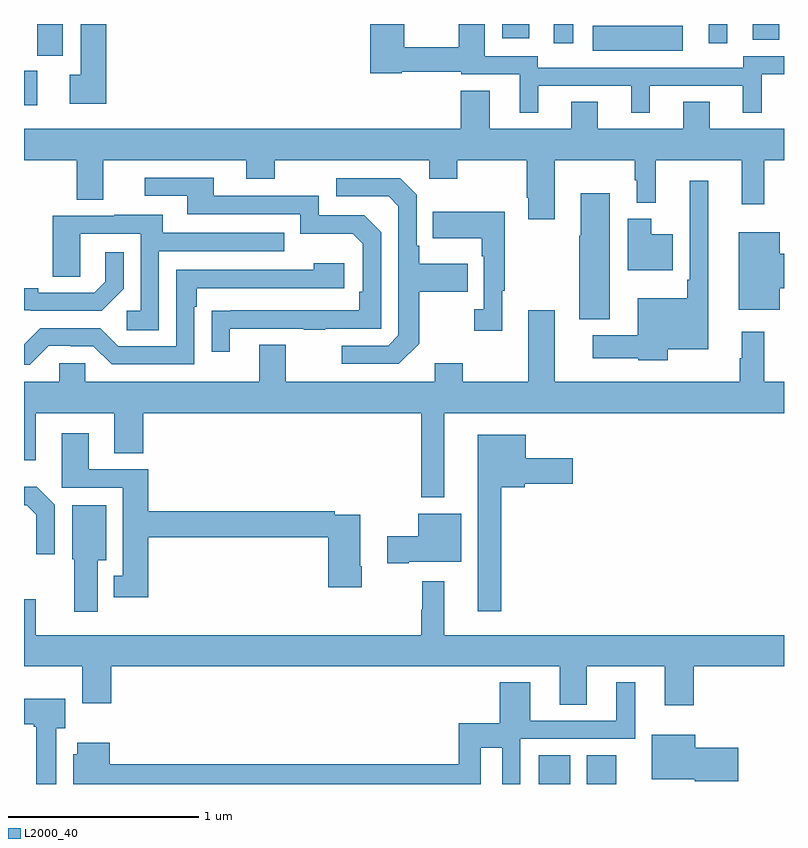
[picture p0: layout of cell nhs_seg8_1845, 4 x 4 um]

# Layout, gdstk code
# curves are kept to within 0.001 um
import gdstk
lib = gdstk.Library(unit=1e-6, precision=1e-09)
def R(c, l, rs):  # rectangles x0, y0, x1, y1
    for r in rs: c.add(gdstk.rectangle(r[:2], r[2:], *l))
def P(c, l, *ps):  # polygons
    for p in ps: c.add(gdstk.Polygon(p, *l))
L2000_40 = (2000, 40)

nhs_seg8_1845 = lib.new_cell('nhs_seg8_1845')
R(nhs_seg8_1845, L2000_40, [(231.71,1095.9,231.874,1096.052), (231.962,1095.9,232.117,1096.052), (229,1099.473,229.069,1099.653), (229.07,1099.734,229.204,1099.9), (231.993,1099.76,232.468,1099.891), (231.788,1099.8,231.892,1099.9), (232.604,1099.8,232.702,1099.9), (232.835,1099.818,232.975,1099.9), (231.518,1099.824,231.658,1099.9)])
P(nhs_seg8_1845, L2000_40, [(229.433,1099.9),(229.298,1099.9),(229.298,1099.634),(229.242,1099.634),(229.242,1099.481),(229.433,1099.481)],
  [(231.706,1099.575),(232.196,1099.575),(232.196,1099.434),(232.294,1099.434),(232.294,1099.575),(232.784,1099.575),(232.784,1099.434),(232.882,1099.434),(232.882,1099.635),(233,1099.635),(233,1099.731),(232.785,1099.731),(232.785,1099.671),(231.705,1099.671),(231.705,1099.731),(231.426,1099.731),(231.426,1099.9),(231.289,1099.9),(231.289,1099.778),(231,1099.778),(231,1099.9),(230.822,1099.9),(230.822,1099.642),(230.988,1099.642),(230.988,1099.65),(231.3,1099.65),(231.3,1099.635),(231.608,1099.635),(231.608,1099.434),(231.706,1099.434)],
  [(231.793,1099.184),(232.215,1099.184),(232.215,1099.077),(232.226,1099.077),(232.226,1098.959),(232.325,1098.959),(232.325,1099.184),(232.778,1099.184),(232.778,1098.951),(232.895,1098.951),(232.895,1099.184),(233,1099.184),(233,1099.348),(232.609,1099.348),(232.609,1099.49),(232.469,1099.49),(232.469,1099.348),(232.021,1099.348),(232.021,1099.49),(231.881,1099.49),(231.881,1099.348),(231.451,1099.348),(231.451,1099.55),(231.299,1099.55),(231.299,1099.348),(229,1099.348),(229,1099.184),(229.277,1099.184),(229.277,1098.976),(229.417,1098.976),(229.417,1099.184),(230.171,1099.184),(230.171,1099.085),(230.319,1099.085),(230.319,1099.184),(231.132,1099.184),(231.132,1099.085),(231.279,1099.085),(231.279,1099.184),(231.646,1099.184),(231.646,1098.985),(231.653,1098.985),(231.653,1098.873),(231.793,1098.873)],
  [(230.083,1098.297),(230.473,1098.297),(230.473,1098.292),(230.585,1098.292),(230.585,1098.297),(230.88,1098.297),(230.88,1098.804),(230.79,1098.894),(230.55,1098.894),(230.55,1098.996),(229.999,1098.996),(229.999,1099.092),(229.635,1099.092),(229.635,1098.996),(229.859,1098.996),(229.859,1098.9),(230.454,1098.9),(230.454,1098.797),(230.731,1098.797),(230.784,1098.744),(230.784,1098.49),(230.764,1098.49),(230.764,1098.393),(229.987,1098.392),(229.987,1098.174),(230.083,1098.174)],
  [(231.079,1098.217),(231.079,1098.49),(231.335,1098.49),(231.335,1098.637),(231.079,1098.637),(231.079,1098.733),(231.066,1098.733),(231.066,1099.002),(230.979,1099.089),(230.643,1099.089),(230.643,1098.993),(230.919,1098.993),(230.97,1098.942),(230.97,1098.261),(230.916,1098.207),(230.673,1098.207),(230.673,1098.111),(230.973,1098.111)],
  [(232.389,1098.188),(232.6,1098.188),(232.6,1099.075),(232.503,1099.075),(232.503,1098.553),(232.491,1098.553),(232.491,1098.457),(232.229,1098.457),(232.229,1098.262),(231.993,1098.262),(231.993,1098.14),(232.233,1098.14),(232.233,1098.131),(232.389,1098.131)],
  [(232.084,1099.009),(231.929,1099.009),(231.929,1098.785),(231.922,1098.785),(231.922,1098.347),(232.084,1098.347)],
  [(231.517,1098.497),(231.529,1098.497),(231.529,1098.913),(231.151,1098.913),(231.151,1098.773),(231.408,1098.773),(231.408,1098.677),(231.42,1098.677),(231.42,1098.398),(231.369,1098.398),(231.369,1098.285),(231.517,1098.285)],
  [(229.71,1098.705),(230.369,1098.705),(230.369,1098.801),(229.729,1098.801),(229.729,1098.895),(229.475,1098.895),(229.475,1098.891),(229.151,1098.891),(229.151,1098.571),(229.296,1098.571),(229.296,1098.795),(229.614,1098.795),(229.614,1098.39),(229.542,1098.39),(229.542,1098.289),(229.71,1098.289)],
  [(232.414,1098.793),(232.3,1098.793),(232.3,1098.874),(232.178,1098.874),(232.178,1098.605),(232.414,1098.605)],
  [(232.978,1098.509),(233,1098.509),(233,1098.692),(232.978,1098.692),(232.978,1098.805),(232.763,1098.805),(232.763,1098.395),(232.978,1098.395)],
  [(229.524,1098.506),(229.524,1098.7),(229.427,1098.7),(229.427,1098.543),(229.37,1098.486),(229.075,1098.486),(229.075,1098.509),(229,1098.509),(229,1098.393),(229.036,1098.393),(229.036,1098.39),(229.408,1098.39)],
  [(229.131,1098.207),(229.247,1098.207),(229.247,1098.204),(229.365,1098.204),(229.461,1098.108),(229.896,1098.108),(229.896,1098.413),(229.909,1098.413),(229.909,1098.51),(230.686,1098.51),(230.686,1098.64),(230.525,1098.64),(230.525,1098.606),(229.8,1098.606),(229.8,1098.204),(229.497,1098.204),(229.401,1098.3),(229.086,1098.3),(229,1098.214),(229,1098.107),(229.031,1098.107)],
  [(231.211,1097.852),(233,1097.852),(233,1098.016),(232.895,1098.016),(232.895,1098.28),(232.778,1098.28),(232.778,1098.14),(232.767,1098.14),(232.767,1098.016),(231.793,1098.016),(231.793,1098.394),(231.653,1098.394),(231.653,1098.016),(231.309,1098.016),(231.309,1098.115),(231.161,1098.115),(231.161,1098.016),(230.377,1098.016),(230.377,1098.211),(230.237,1098.211),(230.237,1098.016),(229.323,1098.016),(229.323,1098.114),(229.185,1098.114),(229.185,1098.016),(229,1098.016),(229,1097.604),(229.063,1097.604),(229.063,1097.852),(229.475,1097.852),(229.475,1097.641),(229.628,1097.641),(229.628,1097.852),(231.09,1097.852),(231.09,1097.408),(231.211,1097.408)],
  [(229.655,1097.2),(230.6,1097.2),(230.6,1096.935),(230.778,1096.935),(230.778,1097.047),(230.77,1097.047),(230.77,1097.316),(230.636,1097.316),(230.636,1097.336),(229.655,1097.336),(229.655,1097.556),(229.342,1097.556),(229.342,1097.746),(229.199,1097.746),(229.199,1097.46),(229.52,1097.46),(229.52,1096.997),(229.472,1096.997),(229.472,1096.884),(229.655,1096.884)],
  [(231.511,1097.462),(231.636,1097.462),(231.636,1097.48),(231.889,1097.48),(231.889,1097.614),(231.64,1097.614),(231.64,1097.737),(231.389,1097.737),(231.389,1096.809),(231.511,1096.809)],
  [(229.161,1097.37),(229.067,1097.464),(229,1097.464),(229,1097.367),(229.014,1097.367),(229.065,1097.316),(229.065,1097.109),(229.161,1097.109)],
  [(229.387,1097.078),(229.432,1097.078),(229.432,1097.368),(229.253,1097.368),(229.253,1097.082),(229.265,1097.082),(229.265,1096.806),(229.387,1096.806)],
  [(231.025,1097.069),(231.301,1097.069),(231.301,1097.323),(231.074,1097.323),(231.074,1097.204),(230.913,1097.204),(230.913,1097.062),(231.025,1097.062)],
  [(232.526,1096.52),(233,1096.52),(233,1096.684),(231.211,1096.684),(231.211,1096.966),(231.097,1096.966),(231.097,1096.817),(231.09,1096.817),(231.09,1096.684),(229.063,1096.684),(229.063,1096.872),(229,1096.872),(229,1096.52),(229.307,1096.52),(229.307,1096.326),(229.46,1096.326),(229.46,1096.52),(231.821,1096.52),(231.821,1096.318),(231.961,1096.318),(231.961,1096.52),(232.373,1096.52),(232.373,1096.314),(232.526,1096.314)],
  [(231.405,1096.09),(231.516,1096.09),(231.516,1095.9),(231.612,1095.9),(231.612,1096.137),(232.216,1096.137),(232.216,1096.435),(232.118,1096.435),(232.118,1096.233),(231.664,1096.233),(231.664,1096.435),(231.503,1096.435),(231.503,1096.219),(231.289,1096.219),(231.289,1096.004),(229.451,1096.004),(229.451,1096.117),(229.28,1096.117),(229.28,1096.056),(229.259,1096.056),(229.259,1095.9),(231.405,1095.9)],
  [(229.171,1096.194),(229.216,1096.194),(229.216,1096.348),(229,1096.348),(229,1096.214),(229.051,1096.214),(229.051,1096.201),(229.064,1096.201),(229.064,1095.9),(229.171,1095.9)],
  [(232.759,1096.092),(232.534,1096.092),(232.534,1096.159),(232.304,1096.159),(232.304,1095.926),(232.53,1095.926),(232.53,1095.914),(232.759,1095.914)])

lib.write_gds('nhs_seg8_1845.gds')
